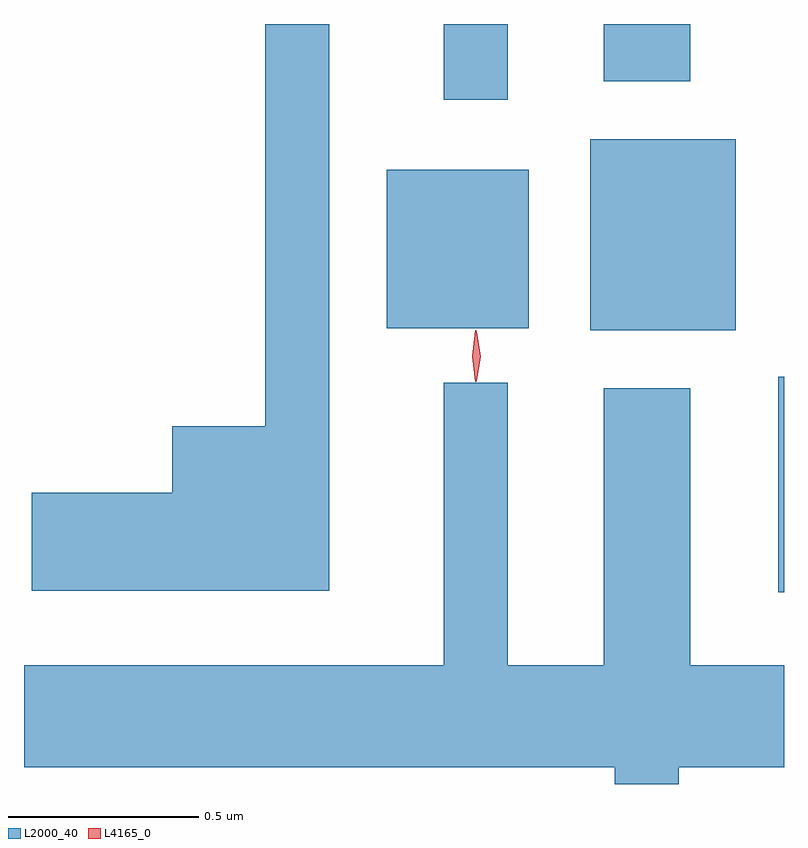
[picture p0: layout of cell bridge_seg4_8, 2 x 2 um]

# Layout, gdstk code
import gdstk
lib = gdstk.Library(unit=1e-6, precision=1e-09)
def R(c, l, rs):  # rectangles x0, y0, x1, y1
    for r in rs: c.add(gdstk.rectangle(r[:2], r[2:], *l))
def P(c, l, *ps):  # polygons
    for p in ps: c.add(gdstk.Polygon(p, *l))
L2000_40 = (2000, 40)
L4165_0 = (4165, 0)

bridge_seg4_8 = lib.new_cell('bridge_seg4_8')
R(bridge_seg4_8, L2000_40, [(1252.891,1381.776,1252.906,1382.344), (1252.396,1382.466,1252.779,1382.969), (1251.861,1382.471,1252.234,1382.889), (1252.011,1383.073,1252.179,1383.272), (1252.431,1383.121,1252.659,1383.272)])
P(bridge_seg4_8, L2000_40, [(1251.709,1383.272),(1251.541,1383.272),(1251.541,1382.214),(1251.296,1382.214),(1251.296,1382.039),(1250.926,1382.039),(1250.926,1381.781),(1251.709,1381.781)],
  [(1252.629,1381.316),(1252.906,1381.316),(1252.906,1381.584),(1252.659,1381.584),(1252.659,1382.314),(1252.431,1382.314),(1252.431,1381.584),(1252.179,1381.584),(1252.179,1382.328),(1252.011,1382.328),(1252.011,1381.584),(1250.906,1381.584),(1250.906,1381.316),(1252.461,1381.316),(1252.461,1381.272),(1252.629,1381.272)])
P(bridge_seg4_8, L4165_0, [(1252.094,1382.33),(1252.085,1382.398),(1252.094,1382.466),(1252.095,1382.466),(1252.096,1382.466),(1252.105,1382.398),(1252.096,1382.33),(1252.095,1382.33)],
  [(1252.097,1382.333),(1252.088,1382.397),(1252.097,1382.462),(1252.098,1382.462),(1252.098,1382.462),(1252.108,1382.397),(1252.098,1382.333),(1252.098,1382.333)])

lib.write_gds('bridge_seg4_8.gds')
